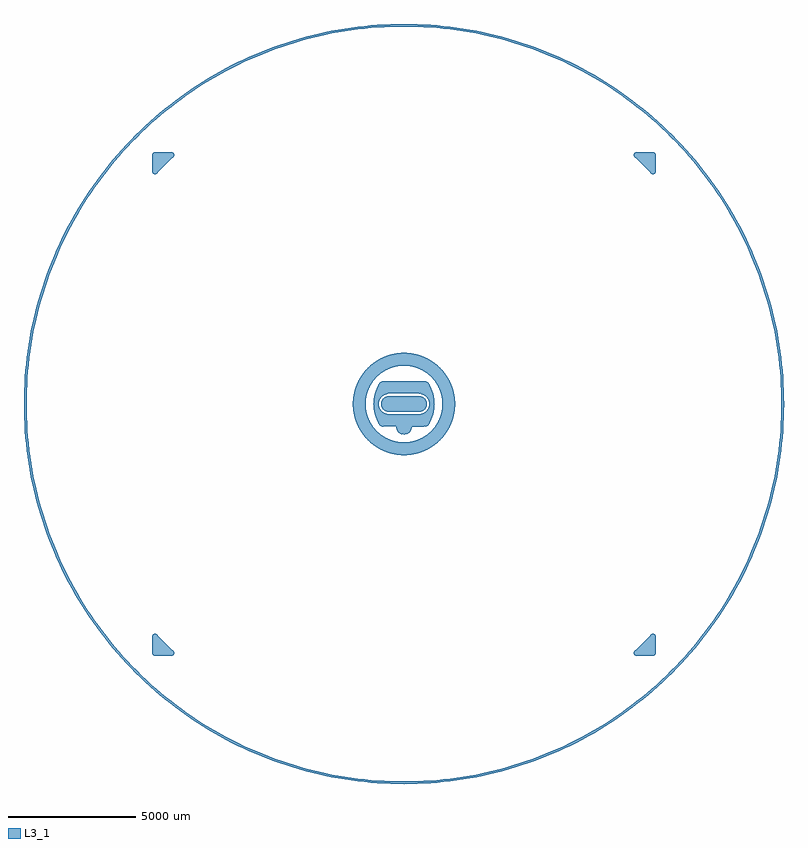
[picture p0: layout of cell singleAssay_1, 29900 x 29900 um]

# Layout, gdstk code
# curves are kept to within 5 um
from math import pi, radians
import gdstk
lib = gdstk.Library(unit=1e-6, precision=5e-09)
def P(c, l, *ps):  # polygons
    for p in ps: c.add(gdstk.Polygon(p, *l))
L3_1 = (3, 1)

structure_1 = lib.new_cell('STRUCTURE_1')
P(structure_1, L3_1, [(600,-300),(702.605,-281.91),(750,-259.81),(796.82,-226.415),(836.405,-184.7),(864.885,-140.84),(886.89,-87.71),(897.765,-36.56),(899.59,15.7),(891.09,72.575),(874.065,122.02),(845.745,172.075),(772.075,245.745),(722.02,274.065),(672.575,291.09),(600,300),(-641.75,297.08),(-726.785,271.89),(-800.74,222.945),(-857.15,154.51),(-891.09,72.575),(-899.59,15.7),(-897.08,-41.75),(-881.91,-102.605),(-857.15,-154.51),(-822.945,-200.74),(-780.545,-239.59),(-731.51,-269.64),(-672.575,-291.09),(-600,-300)])

structure_2 = lib.new_cell('STRUCTURE_2')
P(structure_2, L3_1, [(1510,0),(2010,0),(2005.105,-140.21),(1985.255,-314.435),(1950.295,-486.265),(1911.625,-621.125),(1850.215,-785.37),(1774.725,-943.64),(1685.73,-1094.725),(1605.255,-1209.65),(1445.875,-1396.265),(1292.005,-1539.75),(1094.725,-1685.73),(912.52,-1790.925),(720.32,-1876.495),(486.265,-1950.295),(244.955,-1995.02),(0,-2010),(-210.1,-1998.99),(-383.525,-1973.07),(-587.665,-1922.175),(-752.96,-1863.64),(-912.52,-1790.925),(-1094.725,-1685.73),(-1264.935,-1562.065),(-1421.285,-1421.285),(-1562.065,-1264.935),(-1685.73,-1094.725),(-1790.925,-912.52),(-1863.64,-752.96),(-1922.175,-587.665),(-1973.07,-383.525),(-1998.99,-210.1),(-2010,0),(-1998.99,210.1),(-1973.07,383.525),(-1922.175,587.665),(-1863.64,752.96),(-1790.925,912.52),(-1685.73,1094.725),(-1562.065,1264.935),(-1421.285,1421.285),(-1264.935,1562.065),(-1094.725,1685.73),(-912.52,1790.925),(-752.96,1863.64),(-587.665,1922.175),(-383.525,1973.07),(-210.1,1998.99),(0,2010),(210.1,1998.99),(383.525,1973.07),(587.665,1922.175),(752.96,1863.64),(912.52,1790.925),(1094.725,1685.73),(1264.935,1562.065),(1421.285,1421.285),(1562.065,1264.935),(1685.73,1094.725),(1790.925,912.52),(1863.64,752.96),(1922.175,587.665),(1973.07,383.525),(1998.99,210.1),(2010,0),(1510,0),(1498.745,184.025),(1458.55,390.815),(1400.05,565.655),(1307.7,755),(1205.94,908.74),(1086.205,1048.935),(950.275,1173.49),(777.705,1294.325),(638.155,1368.525),(491.61,1427.735),(339.675,1471.3),(184.025,1498.745),(26.355,1509.77),(-131.605,1504.255),(-262.21,1487.06),(-416.21,1451.505),(-590.005,1389.96),(-755,1307.7),(-908.74,1205.94),(-1029.82,1104.345),(-1156.725,970.61),(-1266.395,822.405),(-1357.18,661.94),(-1427.735,491.61),(-1477.005,313.945),(-1504.255,131.605),(-1509.08,-52.7),(-1491.41,-236.215),(-1451.505,-416.21),(-1389.96,-590.005),(-1307.7,-755),(-1205.94,-908.74),(-1048.935,-1086.205),(-866.1,-1236.92),(-661.94,-1357.18),(-441.48,-1444.02),(-210.15,-1495.305),(26.355,-1509.77),(262.21,-1487.06),(491.61,-1427.735),(708.9,-1333.25),(908.74,-1205.94),(1086.205,-1048.935),(1236.92,-866.1),(1357.18,-661.94),(1436.095,-466.615),(1491.41,-236.215)])

structure_3 = lib.new_cell('STRUCTURE_3')
P(structure_3, L3_1, [(600,400),(1070.32,610.105),(1148.89,388.23),(1181.535,234.65),(1197.945,78.505),(1197.945,-78.505),(1177.21,-260.47),(1141.895,-413.455),(1080.755,-586.095),(989.29,-778.76),(925.455,-849.66),(864.59,-883.395),(796.79,-899.05),(300,-900),(294.49,-957.245),(276.15,-1017.22),(245.745,-1072.075),(208.4,-1115.8),(158.975,-1154.415),(107.51,-1180.075),(52.095,-1195.44),(-5.235,-1199.955),(-62.375,-1193.445),(-122.02,-1174.065),(-172.075,-1145.745),(-215.8,-1108.4),(-251.6,-1063.39),(-278.155,-1012.38),(-294.49,-957.245),(-300,-900),(-809.795,-897.565),(-900,-866.505),(-942.285,-835.785),(-974.66,-800.455),(-1079.58,-588.86),(-1147.21,-394.445),(-1187.585,-192.6),(-1199.505,38.62),(-1180.095,243.55),(-1124.985,468.42),(-1079.58,588.86),(-995.735,767.37),(-963.675,814.015),(-925.455,849.66),(-860.505,884.925),(-783.725,899.85),(805.465,898.135),(888.5,872.75),(957.84,820.5),(995.735,767.37),(1070.32,610.105),(600,400),(-613.96,399.755),(-703.53,386.37),(-793.925,349.85),(-887.735,277.865),(-956.405,181.595),(-993.925,69.46),(-997.02,-48.75),(-965.42,-162.695),(-901.885,-262.425),(-811.97,-339.22),(-710.255,-384.505),(-606.98,-399.94),(613.96,-399.755),(710.255,-384.505),(806.015,-342.865),(901.885,-262.425),(939.22,-211.97),(970.875,-149.845),(989.75,-89.98),(999.45,-20.935),(997.02,48.75),(984.505,110.255),(959.52,175.35),(927.66,229.43),(840.725,319.455),(781.595,356.405),(723.605,380.425)])

vactrapv_1 = lib.new_cell('VacTrapV_1')
vactrapv_1.add(gdstk.Reference(structure_1, (0,0)))
vactrapv_1.add(gdstk.Reference(structure_2, (0,0)))
vactrapv_1.add(gdstk.Reference(structure_3, (0,0)))

wafer_1 = lib.new_cell('WAFER_1')
P(wafer_1, L3_1, [(14850,0),(14829.645,777.19),(14768.65,1552.245),(14705.48,2066.72),(14577.16,2833.515),(14408.89,3592.54),(14201.125,4341.72),(13954.435,5079),(13768.68,5562.905),(13566.15,6040.04),(13231.445,6741.76),(12860.475,7425),(12454.255,8087.89),(12013.9,8728.61),(11540.615,9345.405),(11035.7,9936.59),(10500.535,10500.535),(9936.59,11035.7),(9345.405,11540.615),(8728.61,12013.9),(8087.89,12454.255),(7425,12860.475),(6741.76,13231.445),(6040.04,13566.15),(5562.905,13768.68),(5079,13954.435),(4341.72,14201.125),(3592.54,14408.89),(2833.515,14577.16),(2066.72,14705.48),(1552.245,14768.65),(777.19,14829.645),(0,14850),(-777.19,14829.645),(-1552.245,14768.65),(-2066.72,14705.48),(-2833.515,14577.16),(-3592.54,14408.89),(-4341.72,14201.125),(-5079,13954.435),(-5562.905,13768.68),(-6040.04,13566.15),(-6741.76,13231.445),(-7425,12860.475),(-8087.89,12454.255),(-8728.61,12013.9),(-9345.405,11540.615),(-9936.59,11035.7),(-10500.535,10500.535),(-11035.7,9936.59),(-11375.76,9545.395),(-11859.735,8936.95),(-12311.205,8304.015),(-12728.935,7648.315),(-13111.77,6971.65),(-13458.67,6275.88),(-13669.495,5802.355),(-13954.435,5079),(-14201.125,4341.72),(-14408.89,3592.54),(-14525.49,3087.49),(-14667.17,2323.05),(-14768.65,1552.245),(-14813.825,1035.885),(-14840.95,518.255),(-14847.735,-259.17),(-14947.725,-260.915),(-14950,0),(-14929.515,782.425),(-14893.115,1302.98),(-14804.51,2080.64),(-14675.33,2852.595),(-14505.925,3616.735),(-14296.76,4370.96),(-14048.405,5113.2),(-13761.55,5841.43),(-13549.305,6318.145),(-13200.07,7018.6),(-12814.655,7699.82),(-12394.115,8359.935),(-12094.805,8787.39),(-11618.335,9408.34),(-11110.015,10003.505),(-10571.25,10571.25),(-10003.505,11110.015),(-9408.34,11618.335),(-8787.39,12094.805),(-8359.935,12394.115),(-7699.82,12814.655),(-7018.6,13200.07),(-6318.145,13549.305),(-5841.43,13761.55),(-5113.2,14048.405),(-4370.96,14296.76),(-3616.735,14505.925),(-2852.595,14675.33),(-2080.64,14804.51),(-1302.98,14893.115),(-782.425,14929.515),(0,14950),(782.425,14929.515),(1302.98,14893.115),(2080.64,14804.51),(2852.595,14675.33),(3616.735,14505.925),(4370.96,14296.76),(5113.2,14048.405),(5841.43,13761.55),(6318.145,13549.305),(7018.6,13200.07),(7699.82,12814.655),(8359.935,12394.115),(8787.39,12094.805),(9408.34,11618.335),(10003.505,11110.015),(10571.25,10571.25),(11110.015,10003.505),(11618.335,9408.34),(12094.805,8787.39),(12394.115,8359.935),(12814.655,7699.82),(13200.07,7018.6),(13549.305,6318.145),(13861.4,5600.37),(14135.505,4867.245),(14370.865,4120.78),(14566.835,3363.02),(14722.88,2596.04),(14804.51,2080.64),(14868.105,1562.7),(14929.515,782.425),(14950,0)],
  [(-14850,0),(-14829.645,-777.19),(-14768.65,-1552.245),(-14705.48,-2066.72),(-14577.16,-2833.515),(-14408.89,-3592.54),(-14201.125,-4341.72),(-13954.435,-5079),(-13768.68,-5562.905),(-13566.15,-6040.04),(-13231.445,-6741.76),(-12860.475,-7425),(-12454.255,-8087.89),(-12013.9,-8728.61),(-11540.615,-9345.405),(-11035.7,-9936.59),(-10500.535,-10500.535),(-9936.59,-11035.7),(-9345.405,-11540.615),(-8728.61,-12013.9),(-8087.89,-12454.255),(-7425,-12860.475),(-6741.76,-13231.445),(-6040.04,-13566.15),(-5562.905,-13768.68),(-5079,-13954.435),(-4341.72,-14201.125),(-3592.54,-14408.89),(-2833.515,-14577.16),(-2066.72,-14705.48),(-1552.245,-14768.65),(-777.19,-14829.645),(0,-14850),(777.19,-14829.645),(1552.245,-14768.65),(2066.72,-14705.48),(2833.515,-14577.16),(3592.54,-14408.89),(4341.72,-14201.125),(5079,-13954.435),(5562.905,-13768.68),(6040.04,-13566.15),(6741.76,-13231.445),(7425,-12860.475),(8087.89,-12454.255),(8728.61,-12013.9),(9345.405,-11540.615),(9936.59,-11035.7),(10500.535,-10500.535),(11035.7,-9936.59),(11375.76,-9545.395),(11859.735,-8936.95),(12311.205,-8304.015),(12728.935,-7648.315),(13111.77,-6971.65),(13458.67,-6275.88),(13669.495,-5802.355),(13954.435,-5079),(14201.125,-4341.72),(14408.89,-3592.54),(14525.49,-3087.49),(14667.17,-2323.05),(14768.65,-1552.245),(14813.825,-1035.885),(14840.95,-518.255),(14847.735,259.17),(14947.725,260.915),(14950,0),(14929.515,-782.425),(14893.115,-1302.98),(14804.51,-2080.64),(14675.33,-2852.595),(14505.925,-3616.735),(14296.76,-4370.96),(14048.405,-5113.2),(13761.55,-5841.43),(13549.305,-6318.145),(13200.07,-7018.6),(12814.655,-7699.82),(12394.115,-8359.935),(12094.805,-8787.39),(11618.335,-9408.34),(11110.015,-10003.505),(10571.25,-10571.25),(10003.505,-11110.015),(9408.34,-11618.335),(8787.39,-12094.805),(8359.935,-12394.115),(7699.82,-12814.655),(7018.6,-13200.07),(6318.145,-13549.305),(5841.43,-13761.55),(5113.2,-14048.405),(4370.96,-14296.76),(3616.735,-14505.925),(2852.595,-14675.33),(2080.64,-14804.51),(1302.98,-14893.115),(782.425,-14929.515),(0,-14950),(-782.425,-14929.515),(-1302.98,-14893.115),(-2080.64,-14804.51),(-2852.595,-14675.33),(-3616.735,-14505.925),(-4370.96,-14296.76),(-5113.2,-14048.405),(-5841.43,-13761.55),(-6318.145,-13549.305),(-7018.6,-13200.07),(-7699.82,-12814.655),(-8359.935,-12394.115),(-8787.39,-12094.805),(-9408.34,-11618.335),(-10003.505,-11110.015),(-10571.25,-10571.25),(-11110.015,-10003.505),(-11618.335,-9408.34),(-12094.805,-8787.39),(-12394.115,-8359.935),(-12814.655,-7699.82),(-13200.07,-7018.6),(-13549.305,-6318.145),(-13861.4,-5600.37),(-14135.505,-4867.245),(-14370.865,-4120.78),(-14566.835,-3363.02),(-14722.88,-2596.04),(-14804.51,-2080.64),(-14868.105,-1562.7),(-14929.515,-782.425),(-14950,0)])

structure_4 = lib.new_cell('STRUCTURE_4')
P(structure_4, L3_1, [(0,154.645),(2.41,86.37),(17.425,46.83),(52.81,13.83),(100.16,0.965),(767.84,2.05),(800.86,12.19),(828.595,33.09),(846.815,60.62),(855.215,94.315),(845.34,145.13),(807.995,191.895),(183.68,815.955),(148.24,843.755),(108.265,855.215),(72.055,851.09),(38.36,833.175),(14.69,805.46),(2.41,770.385)])

triangle_1 = lib.new_cell('TRIANGLE_1')
triangle_1.add(gdstk.Reference(structure_4, (0,0)))

markswafer_1 = lib.new_cell('MARKSWAFER_1')
markswafer_1.add(gdstk.Reference(wafer_1, (0,0)))
markswafer_1.add(gdstk.Reference(triangle_1, (9900,9900), rotation=pi))
markswafer_1.add(gdstk.Reference(triangle_1, (-9900,9900), rotation=3*pi/2))
markswafer_1.add(gdstk.Reference(triangle_1, (-9900,-9900)))
markswafer_1.add(gdstk.Reference(triangle_1, (9900,-9900), rotation=pi/2))

singleassay_1 = lib.new_cell('singleAssay_1')
singleassay_1.add(gdstk.Reference(vactrapv_1, (33000,0)))
singleassay_1.add(gdstk.Reference(markswafer_1, (33000,0)))

lib.write_gds('singleAssay_1.gds')
